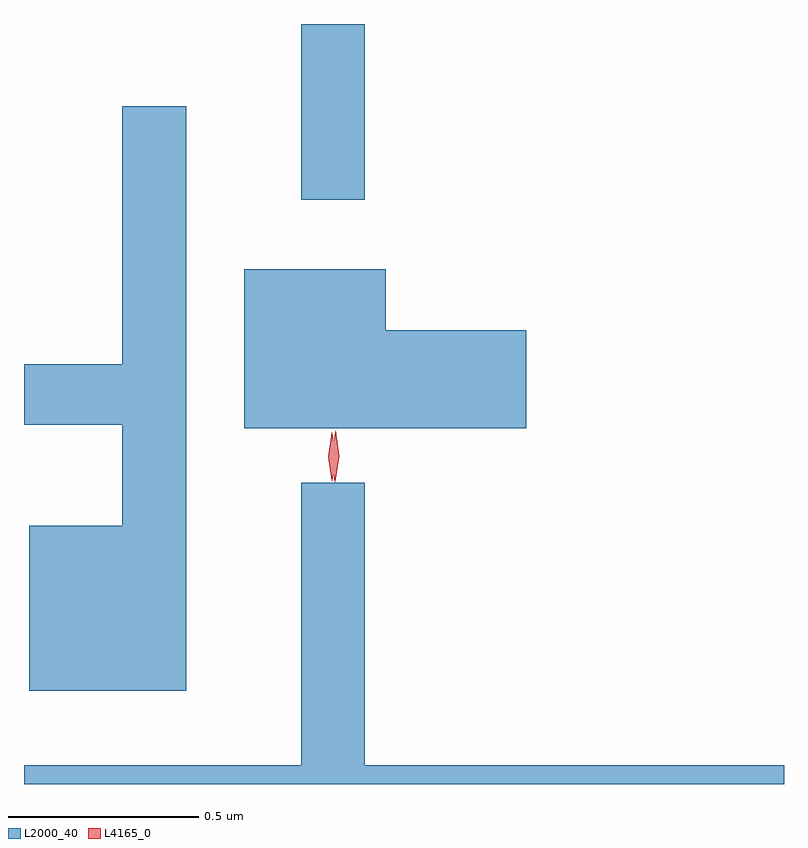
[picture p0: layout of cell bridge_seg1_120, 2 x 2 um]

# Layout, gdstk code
import gdstk
lib = gdstk.Library(unit=1e-6, precision=1e-09)
def R(c, l, rs):  # rectangles x0, y0, x1, y1
    for r in rs: c.add(gdstk.rectangle(r[:2], r[2:], *l))
def P(c, l, *ps):  # polygons
    for p in ps: c.add(gdstk.Polygon(p, *l))
L2000_40 = (2000, 40)
L4165_0 = (4165, 0)

bridge_seg1_120 = lib.new_cell('bridge_seg1_120')
R(bridge_seg1_120, L2000_40, [(1397.421,876.913,1397.589,877.375)])
P(bridge_seg1_120, L2000_40, [(1397.119,877.158),(1396.951,877.158),(1396.951,876.479),(1396.692,876.479),(1396.692,876.321),(1396.951,876.321),(1396.951,876.054),(1396.706,876.054),(1396.706,875.621),(1397.119,875.621)],
  [(1398.014,876.569),(1397.644,876.569),(1397.644,876.729),(1397.271,876.729),(1397.271,876.311),(1398.014,876.311)],
  [(1398.692,875.424),(1397.589,875.424),(1397.589,876.168),(1397.421,876.168),(1397.421,875.424),(1396.692,875.424),(1396.692,875.375),(1398.692,875.375)])
P(bridge_seg1_120, L4165_0, [(1397.51,876.17),(1397.51,876.17),(1397.501,876.238),(1397.512,876.306),(1397.512,876.306),(1397.512,876.306),(1397.521,876.238),(1397.511,876.17)],
  [(1397.502,876.173),(1397.492,876.236),(1397.502,876.299),(1397.502,876.3),(1397.503,876.299),(1397.512,876.236),(1397.503,876.173),(1397.503,876.173)])

lib.write_gds('bridge_seg1_120.gds')
